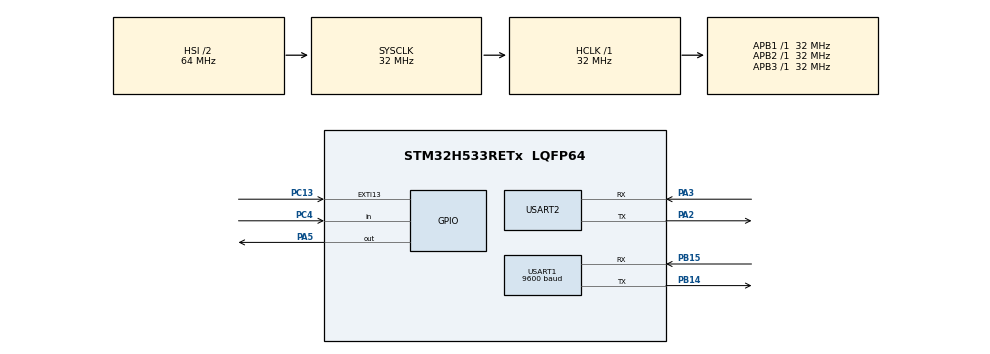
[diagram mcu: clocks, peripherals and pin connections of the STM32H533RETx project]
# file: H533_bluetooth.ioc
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BOOTPATH.BootPathName=LEGACY
BOOTPATH.UserSelectedBootPath=LEGACY
CORTEX_M33_NS.userName=CORTEX_M33
Mcu.Family=STM32H5
Mcu.Name=STM32H533RETx
Mcu.Package=LQFP64
NVIC.PriorityGroup=NVIC_PRIORITYGROUP_4
NVIC.USART1_IRQn=true\:0\:0\:false\:false\:true\:true\:true\:true
NVIC.USART2_IRQn=true\:0\:0\:false\:false\:true\:true\:true\:true
PA13(JTMS/SWDIO).GPIO_Label=SWDIO
PA13(JTMS/SWDIO).Signal=DEBUG_JTMS-SWDIO
PA14(JTCK/SWCLK).GPIO_Label=SWCLK
PA14(JTCK/SWCLK).Signal=DEBUG_JTCK-SWCLK
PA15(JTDI).GPIO_Label=JTDI
PA15(JTDI).Signal=DEBUG_JTDI
PA2.Mode=Asynchronous
PA2.Signal=USART2_TX
PA3.Mode=Asynchronous
PA3.Signal=USART2_RX
PA5.Signal=GPIO_Output
PB14.Mode=Asynchronous
PB14.Signal=USART1_TX
PB15.Mode=Asynchronous
PB15.Signal=USART1_RX
PB3(JTDO/TRACESWO).GPIO_Label=SWO
PB3(JTDO/TRACESWO).Signal=DEBUG_JTDO-SWO
PC13.Signal=GPXTI13
PC4.Signal=GPIO_Input
ProjectManager.HeapSize=0x200
ProjectManager.StackSize=0x400
ProjectManager.TargetToolchain=STM32CubeIDE
RCC.ADCFreq_Value=32000000
RCC.AHBFreq_Value=32000000
RCC.APB1Freq_Value=32000000
RCC.APB1TimFreq_Value=32000000
RCC.APB2Freq_Value=32000000
RCC.APB2TimFreq_Value=32000000
RCC.APB3Freq_Value=32000000
RCC.CSI_VALUE=4000000
RCC.CortexFreq_Value=32000000
RCC.EPOD_VALUE=4000000
RCC.HCLKFreq_Value=32000000
RCC.HSE_VALUE=25000000
RCC.HSI48_VALUE=48000000
RCC.HSI_VALUE=64000000
RCC.LSE_VALUE=32768
RCC.LSIRC_VALUE=32000
RCC.SYSCLKFreq_VALUE=32000000
RCC.USBFreq_Value=48000000
RCC.VCOOutputFreq_Value=516000000
USART1.BaudRate=9600
USART1.VirtualMode-Asynchronous=VM_ASYNC
USART2.VirtualMode-Asynchronous=VM_ASYNC
VP_BOOTPATH_VS_BOOTPATH.Mode=BP_Activate
VP_CORTEX_M33_NS_VS_Hclk.Mode=Hclk_Mode
VP_MEMORYMAP_VS_MEMORYMAP.Mode=CurAppReg
VP_PWR_VS_LPOM.Mode=PowerOptimisation
VP_PWR_VS_SECSignals.Mode=Security/Privilege
board=NUCLEO-H533RE

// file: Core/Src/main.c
/* USER CODE BEGIN Header */
/**
  ******************************************************************************
  * @file           : main.c
  * @brief          : Main program body
  ******************************************************************************
  * @attention
  *
  * Copyright (c) 2025 STMicroelectronics.
  * All rights reserved.
  *
  * This software is licensed under terms that can be found in the LICENSE file
  * in the root directory of this software component.
  * If no LICENSE file comes with this software, it is provided AS-IS.
  *
  ******************************************************************************
  */
/* USER CODE END Header */
#include "main.h"

/* USER CODE BEGIN PM */
#define BUFFER_SIZE 32
/* USER CODE END PM */

UART_HandleTypeDef huart1;
UART_HandleTypeDef huart2;

/* USER CODE BEGIN PV */
uint8_t rx_buffer[BUFFER_SIZE]; // rx 저장공간
uint8_t tx_buffer[BUFFER_SIZE] = "Tx Test\r\n"; // tx 저장공간
uint8_t status;  // 상태

uint8_t uart2_rx;
uint8_t uart1_rx;
/* USER CODE END PV */

void SystemClock_Config(void);
static void MX_GPIO_Init(void);
static void MX_USART1_UART_Init(void);
static void MX_USART2_UART_Init(void);

int main(void)
{

  /* MCU Configuration--------------------------------------------------------*/

  /* Reset of all peripherals, Initializes the Flash interface and the Systick. */
  HAL_Init();

  /* Configure the system clock */
  SystemClock_Config();

  /* Initialize all configured peripherals */
  MX_GPIO_Init();
  MX_USART1_UART_Init();
  MX_USART2_UART_Init();
  /* USER CODE BEGIN 2 */
  /*//Transmit - 폴링 방식
  HAL_UART_Transmit(&huart1, tx_buffer, BUFFER_SIZE, 1000);
  */

  // 인터럽트 방식
  HAL_UART_Receive_IT(&huart2, &uart2_rx, sizeof(uart2_rx));
  HAL_UART_Receive_IT(&huart1, &uart1_rx, sizeof(uart1_rx));
  /* USER CODE END 2 */

  /* Infinite loop */
  /* USER CODE BEGIN WHILE */
  while (1)
  {
	  /*//Receive - 폴링방식
	  status = HAL_UART_Receive(&huart1, rx_buffer, BUFFER_SIZE, 1000);
	  HAL_UART_Transmit(&huart2, rx_buffer, BUFFER_SIZE, 1000);
	  */
    /* USER CODE END WHILE */

  }
}

void SystemClock_Config(void)
{
  RCC_OscInitTypeDef RCC_OscInitStruct = {0};
  RCC_ClkInitTypeDef RCC_ClkInitStruct = {0};

  /** Configure the main internal regulator output voltage
  */
  __HAL_PWR_VOLTAGESCALING_CONFIG(PWR_REGULATOR_VOLTAGE_SCALE3);

  while(!__HAL_PWR_GET_FLAG(PWR_FLAG_VOSRDY)) {}

  /** Initializes the RCC Oscillators according to the specified parameters
  * in the RCC_OscInitTypeDef structure.
  */
  RCC_OscInitStruct.OscillatorType = RCC_OSCILLATORTYPE_HSI;
  RCC_OscInitStruct.HSIState = RCC_HSI_ON;
  RCC_OscInitStruct.HSIDiv = RCC_HSI_DIV2;
  RCC_OscInitStruct.HSICalibrationValue = RCC_HSICALIBRATION_DEFAULT;
  RCC_OscInitStruct.PLL.PLLState = RCC_PLL_NONE;
  if (HAL_RCC_OscConfig(&RCC_OscInitStruct) != HAL_OK)
  {
    Error_Handler();
  }

  /** Initializes the CPU, AHB and APB buses clocks
  */
  RCC_ClkInitStruct.ClockType = RCC_CLOCKTYPE_HCLK|RCC_CLOCKTYPE_SYSCLK
                              |RCC_CLOCKTYPE_PCLK1|RCC_CLOCKTYPE_PCLK2
                              |RCC_CLOCKTYPE_PCLK3;
  RCC_ClkInitStruct.SYSCLKSource = RCC_SYSCLKSOURCE_HSI;
  RCC_ClkInitStruct.AHBCLKDivider = RCC_SYSCLK_DIV1;
  RCC_ClkInitStruct.APB1CLKDivider = RCC_HCLK_DIV1;
  RCC_ClkInitStruct.APB2CLKDivider = RCC_HCLK_DIV1;
  RCC_ClkInitStruct.APB3CLKDivider = RCC_HCLK_DIV1;

  if (HAL_RCC_ClockConfig(&RCC_ClkInitStruct, FLASH_LATENCY_1) != HAL_OK)
  {
    Error_Handler();
  }

  /** Configure the programming delay
  */
  __HAL_FLASH_SET_PROGRAM_DELAY(FLASH_PROGRAMMING_DELAY_0);
}

static void MX_USART1_UART_Init(void)
{

  huart1.Instance = USART1;
  huart1.Init.BaudRate = 9600;
  huart1.Init.WordLength = UART_WORDLENGTH_8B;
  huart1.Init.StopBits = UART_STOPBITS_1;
  huart1.Init.Parity = UART_PARITY_NONE;
  huart1.Init.Mode = UART_MODE_TX_RX;
  huart1.Init.HwFlowCtl = UART_HWCONTROL_NONE;
  huart1.Init.OverSampling = UART_OVERSAMPLING_16;
  huart1.Init.OneBitSampling = UART_ONE_BIT_SAMPLE_DISABLE;
  huart1.Init.ClockPrescaler = UART_PRESCALER_DIV1;
  huart1.AdvancedInit.AdvFeatureInit = UART_ADVFEATURE_NO_INIT;
  if (HAL_UART_Init(&huart1) != HAL_OK)
  {
    Error_Handler();
  }
  if (HAL_UARTEx_SetTxFifoThreshold(&huart1, UART_TXFIFO_THRESHOLD_1_8) != HAL_OK)
  {
    Error_Handler();
  }
  if (HAL_UARTEx_SetRxFifoThreshold(&huart1, UART_RXFIFO_THRESHOLD_1_8) != HAL_OK)
  {
    Error_Handler();
  }
  if (HAL_UARTEx_DisableFifoMode(&huart1) != HAL_OK)
  {
    Error_Handler();
  }

}

static void MX_USART2_UART_Init(void)
{

  huart2.Instance = USART2;
  huart2.Init.BaudRate = 115200;
  huart2.Init.WordLength = UART_WORDLENGTH_8B;
  huart2.Init.StopBits = UART_STOPBITS_1;
  huart2.Init.Parity = UART_PARITY_NONE;
  huart2.Init.Mode = UART_MODE_TX_RX;
  huart2.Init.HwFlowCtl = UART_HWCONTROL_NONE;
  huart2.Init.OverSampling = UART_OVERSAMPLING_16;
  huart2.Init.OneBitSampling = UART_ONE_BIT_SAMPLE_DISABLE;
  huart2.Init.ClockPrescaler = UART_PRESCALER_DIV1;
  huart2.AdvancedInit.AdvFeatureInit = UART_ADVFEATURE_NO_INIT;
  if (HAL_UART_Init(&huart2) != HAL_OK)
  {
    Error_Handler();
  }
  if (HAL_UARTEx_SetTxFifoThreshold(&huart2, UART_TXFIFO_THRESHOLD_1_8) != HAL_OK)
  {
    Error_Handler();
  }
  if (HAL_UARTEx_SetRxFifoThreshold(&huart2, UART_RXFIFO_THRESHOLD_1_8) != HAL_OK)
  {
    Error_Handler();
  }
  if (HAL_UARTEx_DisableFifoMode(&huart2) != HAL_OK)
  {
    Error_Handler();
  }

}

static void MX_GPIO_Init(void)
{
  GPIO_InitTypeDef GPIO_InitStruct = {0};

  /* GPIO Ports Clock Enable */
  __HAL_RCC_GPIOC_CLK_ENABLE();
  __HAL_RCC_GPIOA_CLK_ENABLE();
  __HAL_RCC_GPIOB_CLK_ENABLE();

  /*Configure GPIO pin Output Level */
  HAL_GPIO_WritePin(GPIOA, GPIO_PIN_5, GPIO_PIN_RESET);

  /*Configure GPIO pin : PC13 */
  GPIO_InitStruct.Pin = GPIO_PIN_13;
  GPIO_InitStruct.Mode = GPIO_MODE_IT_RISING;
  GPIO_InitStruct.Pull = GPIO_NOPULL;
  HAL_GPIO_Init(GPIOC, &GPIO_InitStruct);

  /*Configure GPIO pin : PA5 */
  GPIO_InitStruct.Pin = GPIO_PIN_5;
  GPIO_InitStruct.Mode = GPIO_MODE_OUTPUT_PP;
  GPIO_InitStruct.Pull = GPIO_NOPULL;
  GPIO_InitStruct.Speed = GPIO_SPEED_FREQ_LOW;
  HAL_GPIO_Init(GPIOA, &GPIO_InitStruct);

  /*Configure GPIO pin : PC4 */
  GPIO_InitStruct.Pin = GPIO_PIN_4;
  GPIO_InitStruct.Mode = GPIO_MODE_INPUT;
  GPIO_InitStruct.Pull = GPIO_NOPULL;
  HAL_GPIO_Init(GPIOC, &GPIO_InitStruct);

}

/* USER CODE BEGIN 4 */
// 콘솔창에서 한글자 입력마다 보내는게 아니라, 버퍼에 저장 후 \n이 감지되면 그때부터 전송
#define CONSOLE_BUFFER_SIZE 128
uint8_t console_buffer[CONSOLE_BUFFER_SIZE];
uint8_t buffer_cursor = 0;

void HAL_UART_RxCpltCallback(UART_HandleTypeDef *huart) {
  // 블루투스 모듈에서 송신
  if (huart->Instance == USART1) {
    // 콘솔창으로 전송
    if (uart1_rx != '\r' && uart1_rx != '\n') {
      HAL_UART_Transmit_IT(&huart2, &uart1_rx, sizeof(uart1_rx));
    }

    // \n(전송 끝) 감지되면 << Receive 후 CRLF
    if (uart1_rx == '\n') {
      HAL_UART_Transmit_IT(&huart2, (uint8_t *)" << Receive\r\n", 15);
    }

    // 다시 받을 준비
    HAL_UART_Receive_IT(&huart1, &uart1_rx, sizeof(uart1_rx));
  }

  // 콘솔창 입력; 키보드 누를 때마다 호출됨
  else if (huart->Instance == USART2) {
    // Echo (안하면 콘솔에서 입력한 문자가 보이지 않음)
    if (uart2_rx != '\n' && uart2_rx != '\r') {
      HAL_UART_Transmit_IT(&huart2, &uart2_rx, sizeof(uart2_rx));
    }

    //backspace
    if (uart2_rx == 127) {
      if (buffer_cursor > 0) {
        buffer_cursor--;
      }
      else {
        buffer_cursor = 0;
      }
    }

    // \n 감지; 전송
    else if (uart2_rx == '\n') {
      console_buffer[buffer_cursor++] = uart2_rx;
      HAL_UART_Transmit_IT(&huart2, (uint8_t *)" >> Transmit\r\n", 15);
      HAL_UART_Transmit_IT(&huart1, console_buffer, buffer_cursor);
      buffer_cursor = 0;
    }
    else {
      // \n, backspace 제외 버퍼에 저장
      console_buffer[buffer_cursor++] = uart2_rx;
    }

    // 다시 받을 준비
    HAL_UART_Receive_IT(&huart2, &uart2_rx, sizeof(uart2_rx));
  }
}
/* USER CODE END 4 */

void Error_Handler(void)
{
  __disable_irq();
  while (1)
  {
  }
}
